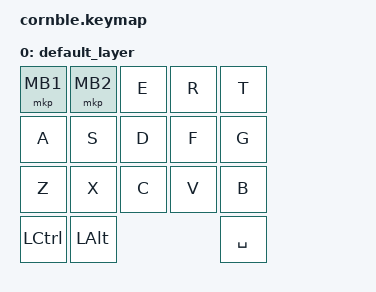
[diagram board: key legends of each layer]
#include <behaviors.dtsi>
#include <dt-bindings/zmk/keys.h>
#include <dt-bindings/zmk/bt.h>
#include <dt-bindings/zmk/pointing.h>

/ {
    keymap {
        compatible = "zmk,keymap";

        default_layer {
            bindings = <
                &mkp MB1   &mkp MB2   &kp E      &kp R      &kp T
                &kp A      &kp S      &kp D      &kp F      &kp G
                &kp Z      &kp X      &kp C      &kp V      &kp B
                &kp LCTRL  &kp LALT                         &kp SPACE
            >;
        };
    };
};
